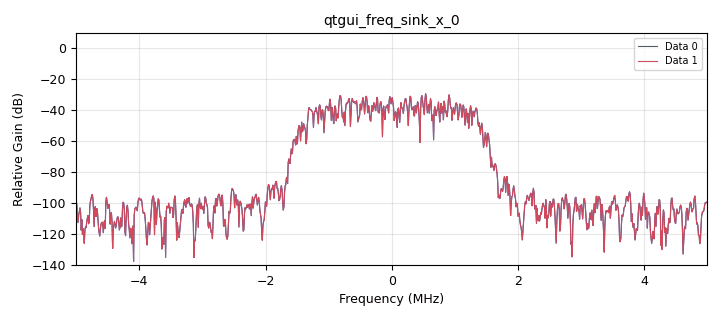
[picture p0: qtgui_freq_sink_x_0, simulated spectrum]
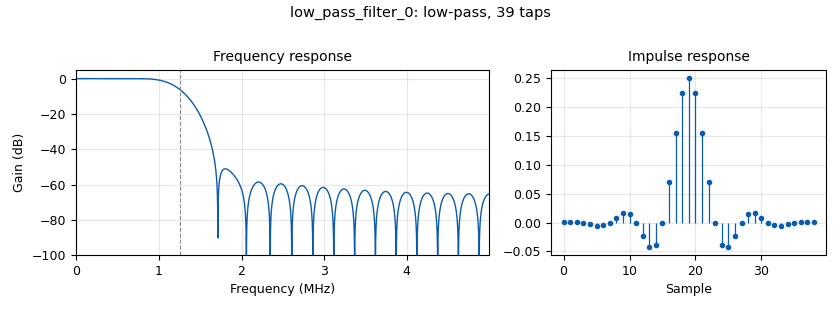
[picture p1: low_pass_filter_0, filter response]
options:
  parameters:
    author: Gilon Kraft
    generate_options: qt_gui
    id: frequencyShifting
    output_language: python
    title: frequencyShfiting
  states: {}

blocks:
- name: new_center_frequency
  id: variable
  parameters:
    value: 1*10**6
  states: {state: disabled}
- name: new_center_frequency
  id: variable_qtgui_range
  parameters:
    start: '-samp_rate / 2'
    step: '1'
    stop: samp_rate / 2
    value: '0'
  states: {}
- name: samp_rate
  id: variable
  parameters:
    value: 10*10**6
  states: {}
- name: analog_noise_source_x_0
  id: analog_noise_source_x
  parameters:
    amp: '1'
    noise_type: analog.GR_GAUSSIAN
    seed: '0'
    type: complex
  states: {}
- name: analog_sig_source_x_0
  id: analog_sig_source_x
  parameters:
    amp: '1'
    freq: new_center_frequency
    offset: '0'
    phase: '0'
    samp_rate: samp_rate
    type: complex
    waveform: analog.GR_COS_WAVE
  states: {}
- name: blocks_multiply_xx_0
  id: blocks_multiply_xx
  parameters:
    type: complex
  states: {}
- name: blocks_throttle2_0
  id: blocks_throttle2
  parameters:
    samples_per_second: samp_rate
    type: complex
  states: {}
- name: low_pass_filter_0
  id: low_pass_filter
  parameters:
    cutoff_freq: samp_rate / 8
    decim: '1'
    gain: '1'
    samp_rate: samp_rate
    type: fir_filter_ccf
    width: samp_rate / 16
    win: window.WIN_HAMMING
  states: {}
- name: qtgui_freq_sink_x_0
  id: qtgui_freq_sink_x
  parameters:
    bw: samp_rate
    fc: '0'
    fftsize: '1024'
    nconnections: '2'
    type: complex
  states: {}

connections:
- [analog_noise_source_x_0, '0', blocks_throttle2_0, '0']
- [analog_sig_source_x_0, '0', blocks_multiply_xx_0, '1']
- [blocks_multiply_xx_0, '0', qtgui_freq_sink_x_0, '1']
- [blocks_throttle2_0, '0', low_pass_filter_0, '0']
- [low_pass_filter_0, '0', blocks_multiply_xx_0, '0']
- [low_pass_filter_0, '0', qtgui_freq_sink_x_0, '0']

metadata:
  file_format: 1
  grc_version: 3.10.12.0
